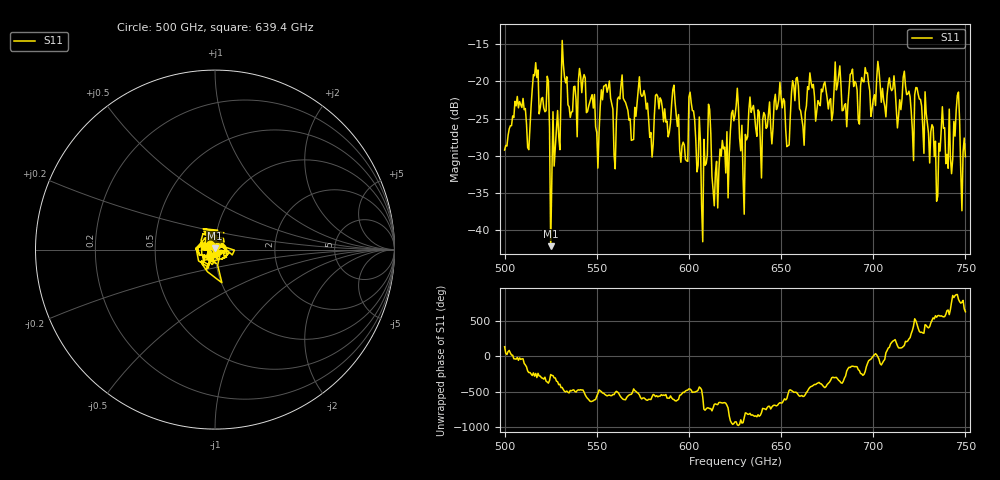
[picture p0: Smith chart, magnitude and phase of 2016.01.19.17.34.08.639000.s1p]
!Created with skrf (http://scikit-rf.org).
# GHz S RI R 50.0
!freq ReS11 ImS11
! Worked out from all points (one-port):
!   401 points, 500 GHz to 750 GHz, reference 50 ohm
!   lowest |S11| = -42.2 dB at 525 GHz (marker M1), VSWR 1.02, Z = 49.8 + j0.748 ohm
!   |S11| at or under -10 dB: start of sweep to end of sweep
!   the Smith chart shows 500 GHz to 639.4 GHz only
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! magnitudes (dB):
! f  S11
! 500 GHz  -29.3
! 506.9 GHz  -22.0
! 513.1 GHz  -29.2
! 516.9 GHz  -17.5
! 525 GHz  -42.2
! 531.2 GHz  -14.5
! 550.6 GHz  -31.7
! 562.5 GHz  -22.4
! 568.8 GHz  -27.9
! 573.8 GHz  -21.6
! 579.4 GHz  -26.9
! 593.8 GHz  -26.1
! 598.1 GHz  -30.5
! 601.2 GHz  -22.9
! 606.2 GHz  -28.2
! 610.6 GHz  -23.1
! 614.4 GHz  -32.3
! 625 GHz  -24.6
! 630.6 GHz  -27.1
! 633.8 GHz  -24.2
! 650.6 GHz  -23.6
! 653.8 GHz  -28.7
! 656.2 GHz  -19.9
! 687.5 GHz  -19.1
! 718.8 GHz  -21.7
! 734.4 GHz  -36.1
! 745 GHz  -23.9
! 750 GHz  -30.1
